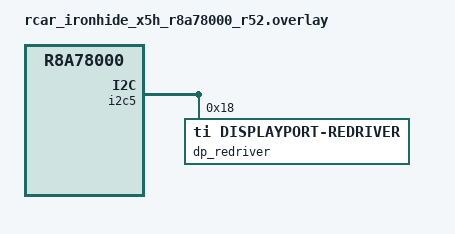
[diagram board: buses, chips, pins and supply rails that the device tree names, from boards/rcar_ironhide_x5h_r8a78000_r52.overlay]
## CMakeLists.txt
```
# SPDX-License-Identifier: Apache-2.0

cmake_minimum_required(VERSION 3.20.0)

find_package(Zephyr REQUIRED HINTS $ENV{ZEPHYR_BASE})
project(i2c_displayport_redriver)

target_sources(app PRIVATE src/main.c)
```

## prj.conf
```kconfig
CONFIG_PRINTK=y
CONFIG_I2C=y
```

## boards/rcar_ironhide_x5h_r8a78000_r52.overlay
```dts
&i2c5 {
	dp_redriver: displayport-redriver@18 {
		compatible = "ti,displayport-redriver";
		reg = <0x18>;
	};
};
```

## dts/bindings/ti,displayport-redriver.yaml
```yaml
description: TI Four-Channel 20Gbps DisplayPort 2.1 Linear Redriver

compatible: "ti,displayport-redriver"

include: i2c-device.yaml
```

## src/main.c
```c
#include <zephyr/kernel.h>
#include <zephyr/sys/printk.h>
#include <zephyr/drivers/i2c.h>
#include <zephyr/device.h>

#define I2C_REG		0xf0
#define I2C_TX_BUF_SIZE	1
#define I2C_RX_BUF_SIZE	2

static const struct i2c_dt_spec target_dev =
	I2C_DT_SPEC_GET(DT_NODELABEL(dp_redriver));

int main(void)
{
	uint8_t buf_tx[I2C_TX_BUF_SIZE] = { I2C_REG };
	uint8_t buf_rx[I2C_RX_BUF_SIZE] = { 0x00 };
	int i;

	if (!device_is_ready(target_dev.bus)) {
		printk("I2C5 bus not ready\n");
		return 0;
	}

	i2c_write_read_dt(&target_dev, buf_tx, sizeof(buf_tx), buf_rx, sizeof(buf_rx));

	printk("data = ");
	for (i = 0 ; i < I2C_RX_BUF_SIZE ; i++)
		printk("0x%02x ", buf_rx[i]);
	printk("\n");

	return 0;
}
```
